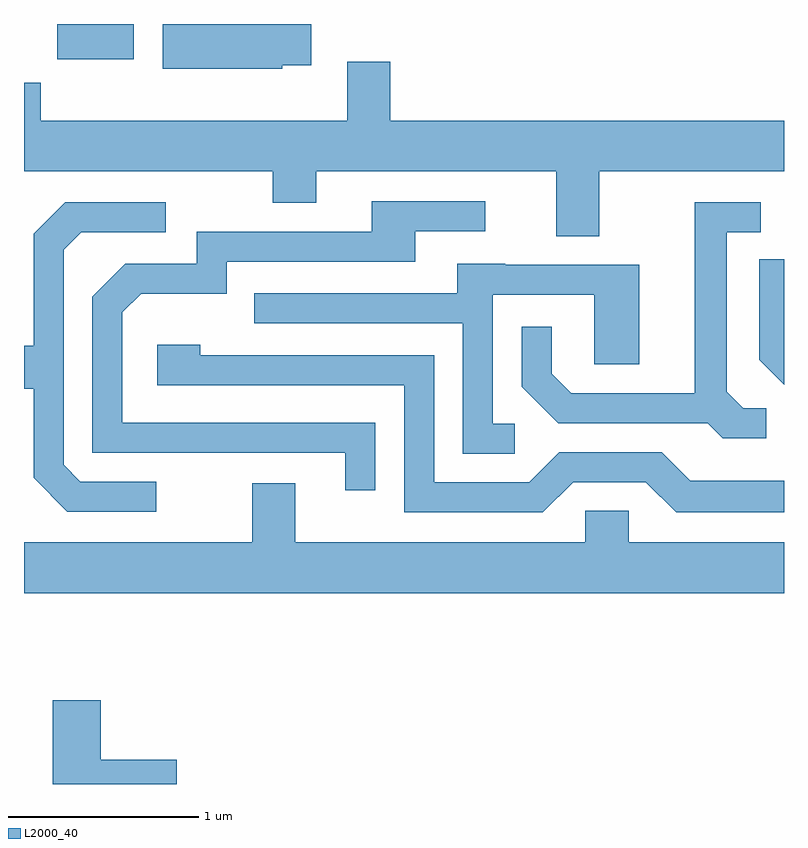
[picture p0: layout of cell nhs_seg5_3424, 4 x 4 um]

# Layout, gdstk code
import gdstk
lib = gdstk.Library(unit=1e-6, precision=1e-09)
def R(c, l, rs):  # rectangles x0, y0, x1, y1
    for r in rs: c.add(gdstk.rectangle(r[:2], r[2:], *l))
def P(c, l, *ps):  # polygons
    for p in ps: c.add(gdstk.Polygon(p, *l))
L2000_40 = (2000, 40)

nhs_seg5_3424 = lib.new_cell('nhs_seg5_3424')
R(nhs_seg5_3424, L2000_40, [(287.786,1401.886,288.189,1402.072)])
P(nhs_seg5_3424, L2000_40, [(288.969,1401.856),(289.124,1401.856),(289.124,1402.072),(288.341,1402.072),(288.341,1401.836),(288.969,1401.836)],
  [(290.639,1401.296),(291.611,1401.296),(291.611,1401.564),(289.539,1401.564),(289.539,1401.874),(289.311,1401.874),(289.311,1401.564),(287.699,1401.564),(287.699,1401.764),(287.611,1401.764),(287.611,1401.296),(288.921,1401.296),(288.921,1401.131),(289.149,1401.131),(289.149,1401.296),(290.411,1401.296),(290.411,1400.956),(290.639,1400.956)],
  [(289.459,1399.974),(288.129,1399.974),(288.129,1400.554),(288.227,1400.651),(288.679,1400.651),(288.679,1400.821),(289.669,1400.821),(289.669,1400.981),(290.038,1400.981),(290.038,1401.139),(289.441,1401.139),(289.441,1400.979),(288.521,1400.979),(288.521,1400.809),(288.144,1400.809),(287.971,1400.637),(287.971,1399.816),(289.301,1399.816),(289.301,1399.618),(289.459,1399.618)],
  [(291.518,1400.049),(291.397,1400.049),(291.309,1400.137),(291.309,1400.976),(291.488,1400.976),(291.488,1401.134),(291.141,1401.134),(291.141,1400.129),(290.492,1400.129),(290.389,1400.232),(290.389,1400.478),(290.231,1400.478),(290.231,1400.164),(290.424,1399.971),(291.209,1399.971),(291.289,1399.891),(291.518,1399.891)],
  [(288.308,1399.664),(287.907,1399.664),(287.819,1399.752),(287.819,1400.884),(287.912,1400.976),(288.358,1400.976),(288.358,1401.134),(287.829,1401.134),(287.661,1400.967),(287.661,1400.379),(287.611,1400.379),(287.611,1400.151),(287.661,1400.151),(287.661,1399.684),(287.839,1399.506),(288.308,1399.506)],
  [(291.611,1400.833),(291.481,1400.833),(291.481,1400.304),(291.611,1400.174)],
  [(290.193,1399.969),(290.079,1399.969),(290.079,1400.646),(290.611,1400.646),(290.611,1400.281),(290.849,1400.281),(290.849,1400.804),(290.145,1400.804),(290.145,1400.809),(289.891,1400.809),(289.891,1400.654),(288.823,1400.654),(288.823,1400.496),(289.921,1400.496),(289.921,1399.811),(290.193,1399.811)],
  [(290.502,1399.661),(290.884,1399.661),(291.044,1399.501),(291.611,1399.501),(291.611,1399.669),(291.117,1399.669),(290.967,1399.819),(290.429,1399.819),(290.269,1399.659),(289.769,1399.659),(289.769,1400.329),(288.539,1400.329),(288.539,1400.384),(288.311,1400.384),(288.311,1400.171),(289.611,1400.171),(289.611,1399.501),(290.342,1399.501)],
  [(291.611,1399.344),(290.794,1399.344),(290.794,1399.509),(290.566,1399.509),(290.566,1399.344),(289.039,1399.344),(289.039,1399.654),(288.811,1399.654),(288.811,1399.344),(287.611,1399.344),(287.611,1399.076),(291.611,1399.076)],
  [(288.414,1398.199),(288.014,1398.199),(288.014,1398.514),(287.761,1398.514),(287.761,1398.072),(288.414,1398.072)])

lib.write_gds('nhs_seg5_3424.gds')
